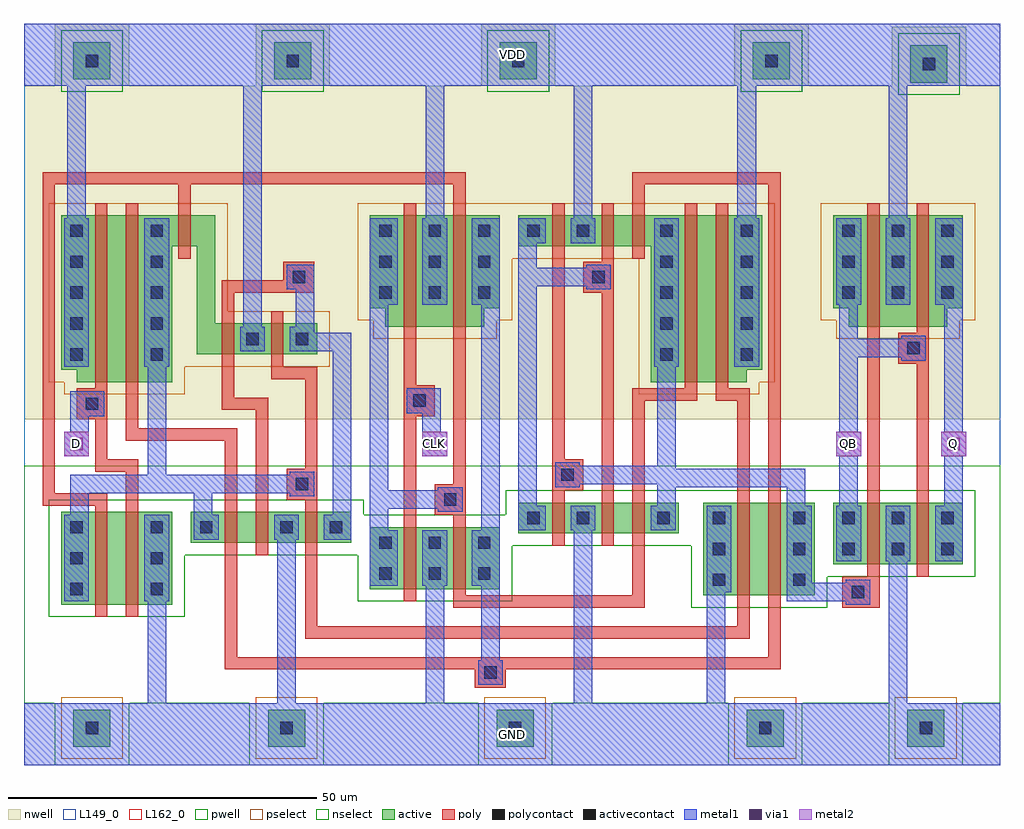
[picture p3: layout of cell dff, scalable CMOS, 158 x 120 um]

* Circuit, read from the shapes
.subckt dff CLK D GND Q QB VDD
M1 n1 n2 n3 GND nfet w=15u l=2u
M2 GND D n1 GND nfet w=15u l=2u
M3 n4 n5 n3 GND nfet w=5u l=2u
M4 GND n6 n4 GND nfet w=5u l=2u
M5 n6 n3 GND GND nfet w=5u l=2u
M6 GND CLK n2 GND nfet w=10u l=2u
M7 n5 n2 GND GND nfet w=10u l=2u
M8 GND n7 n8 GND nfet w=5u l=2u
M9 n9 n8 GND GND nfet w=5u l=2u
M10 n7 n2 n9 GND nfet w=5u l=2u
M11 n10 n3 GND GND nfet w=15u l=2u
M12 n7 n5 n10 GND nfet w=15u l=2u
M13 GND n7 QB GND nfet w=10u l=2u
M14 Q QB GND GND nfet w=10u l=2u
M15 n11 D VDD VDD pfet w=27u l=2u
M16 n3 n5 n11 VDD pfet w=27u l=2u
M17 n12 n2 n3 VDD pfet w=5u l=2u
M18 VDD n6 n12 VDD pfet w=5u l=2u
M19 n6 n3 VDD VDD pfet w=5u l=2u
M20 VDD CLK n2 VDD pfet w=18u l=2u
M21 n5 n2 VDD VDD pfet w=18u l=2u
M22 VDD n7 n8 VDD pfet w=5u l=2u
M23 n13 n8 VDD VDD pfet w=5u l=2u
M24 n7 n5 n13 VDD pfet w=5u l=2u
M25 n14 n2 n7 VDD pfet w=27u l=2u
M26 VDD n3 n14 VDD pfet w=27u l=2u
M27 VDD n7 QB VDD pfet w=18u l=2u
M28 Q QB VDD VDD pfet w=18u l=2u
.ends

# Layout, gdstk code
import gdstk
lib = gdstk.Library(unit=1e-6, precision=1e-09)
def R(c, l, rs):  # rectangles x0, y0, x1, y1
    for r in rs: c.add(gdstk.rectangle(r[:2], r[2:], *l))
def A(c, l, x, y, w, h, nx, ny, dx, dy):  # array of equal rectangles
    R(c, l, [(x+i*dx, y+j*dy, x+i*dx+w, y+j*dy+h) for i in range(nx) for j in range(ny)])
def P(c, l, *ps):  # polygons
    for p in ps: c.add(gdstk.Polygon(p, *l))
pwell = (41, 0)
nwell = (42, 0)
active = (43, 0)
pselect = (44, 0)
nselect = (45, 0)
poly = (46, 0)
polycontact = (47, 0)
activecontact = (48, 0)
metal1 = (49, 0)
via1 = (50, 0)
metal2 = (51, 0)
L149_0 = (149, 0)
L162_0 = (162, 0)

nwell_contact = lib.new_cell('nwell_contact')
R(nwell_contact, nwell, [(-6,-5,6,6)])
R(nwell_contact, active, [(-3,-3,3,3)])
R(nwell_contact, nselect, [(-5,-5,5,5)])
R(nwell_contact, activecontact, [(-1,-1,1,1)])

pwell_contact = lib.new_cell('pwell_contact')
R(pwell_contact, pwell, [(-6,-6,6,5)])
R(pwell_contact, active, [(-3,-3,3,3)])
R(pwell_contact, pselect, [(-5,-5,5,5)])
R(pwell_contact, activecontact, [(-1,-1,1,1)])

via = lib.new_cell('via')
R(via, metal1, [(-2,-2,2,2)])
R(via, via1, [(-1,-1,1,1)])
R(via, metal2, [(-2,-2,2,2)])

dff = lib.new_cell('dff')
R(dff, pwell, [(0,10,158,20), (0,10,158,48.5), (0,20,30,47), (104,21.5,134,48.5), (50,22.5,83,44.5), (125,26.5,158,48.5), (21,30,59,47), (74,31.5,112,48.5)])
R(dff, nwell, [(0,56,158,110), (50,65,53.5,73), (37,73,50,95), (0,95,158,110)])
P(dff, nwell, [(158,68),(155.5,68),(155.5,65),(127.5,65),(127.5,68),(125,68),(125,95),(158,95)],
  [(125.5,58),(123,58),(123,56),(95.5,56),(95.5,78),(74,78),(74,95),(125.5,95)],
  [(83,68),(80.5,68),(80.5,65),(52.5,65),(52.5,68),(50,68),(50,95),(83,95)],
  [(53.5,60.5),(30,60.5),(30,56),(2.5,56),(2.5,58),(0,58),(0,95),(37,95),(37,77.5),(53.5,77.5)])
R(dff, active, [(6,26,24,41), (110,27.5,128,42.5), (56,28.5,77,38.5), (131,32.5,152,42.5), (27,36,53,41), (80,37.5,106,42.5)])
P(dff, active, [(152,74),(149.5,74),(149.5,71),(133.5,71),(133.5,74),(131,74),(131,89),(152,89)],
  [(119.5,64),(117,64),(117,62),(101.5,62),(101.5,84),(80,84),(80,89),(119.5,89)],
  [(77,74),(74.5,74),(74.5,71),(58.5,71),(58.5,74),(56,74),(56,89),(77,89)],
  [(47.5,66.5),(28,66.5),(28,84),(24,84),(24,62),(8.5,62),(8.5,64),(6,64),(6,89),(31,89),(31,71.5),(47.5,71.5)])
P(dff, pselect, [(154,72),(151.5,72),(151.5,69),(131.5,69),(131.5,72),(129,72),(129,91),(154,91)],
  [(121.5,62),(119,62),(119,60),(99.5,60),(99.5,82),(78,82),(78,91),(121.5,91)],
  [(79,72),(76.5,72),(76.5,69),(56.5,69),(56.5,72),(54,72),(54,91),(79,91)],
  [(49.5,64.5),(26,64.5),(26,60),(6.5,60),(6.5,62),(4,62),(4,91),(33,91),(33,73.5),(49.5,73.5)])
R(dff, nselect, [(4,24,26,43), (108,25.5,130,44.5), (54,26.5,79,40.5), (129,30.5,154,44.5), (25,34,55,43), (78,35.5,108,44.5)])
R(dff, poly, [(73,12.5,78,17.5), (11.5,24,13.5,26), (16.5,24,18.5,26), (115.5,25.5,117.5,27.5), (120.5,25.5,122.5,27.5), (132.5,25.5,137.5,30.5), (11.5,26,13.5,41), (16.5,26,18.5,41), (61.5,26.5,63.5,28.5), (69.5,26.5,71.5,28.5), (115.5,27.5,117.5,42.5), (120.5,27.5,122.5,42.5), (61.5,28.5,63.5,38.5), (69.5,28.5,71.5,38.5), (136.5,30.5,138.5,32.5), (144.5,30.5,146.5,32.5), (136.5,32.5,138.5,42.5), (144.5,32.5,146.5,42.5), (32.5,34,34.5,36), (37.5,34,39.5,36), (45.5,34,47.5,36), (85.5,35.5,87.5,37.5), (93.5,35.5,95.5,37.5), (98.5,35.5,100.5,37.5), (32.5,36,34.5,41), (37.5,36,39.5,41), (45.5,36,47.5,41), (85.5,37.5,87.5,42.5), (93.5,37.5,95.5,42.5), (98.5,37.5,100.5,42.5), (61.5,38.5,63.5,40.5), (69.5,38.5,71.5,40.5), (66.5,40.5,71.5,45.5), (11.5,41,13.5,43), (16.5,41,18.5,43), (32.5,41,34.5,43), (37.5,41,39.5,43), (45.5,41,47.5,43), (85.5,42.5,87.5,44.5), (93.5,42.5,95.5,44.5), (98.5,42.5,100.5,44.5), (115.5,42.5,117.5,44.5), (120.5,42.5,122.5,44.5), (136.5,42.5,138.5,44.5), (144.5,42.5,146.5,44.5), (42.5,43,47.5,48), (85.5,44.5,90.5,49.5), (8.5,56,13.5,61), (61.5,56.5,66.5,61.5), (11.5,60,13.5,62), (16.5,60,18.5,62), (107,60,109,62), (112,60,114,62), (11.5,62,13.5,89), (16.5,62,18.5,89), (107,62,109,89), (112,62,114,89), (32,64.5,34,66.5), (40,64.5,42,66.5), (141.5,65,146.5,70), (32,66.5,34,71.5), (40,66.5,42,71.5), (61.5,69,63.5,71), (69.5,69,71.5,71), (136.5,69,138.5,71), (144.5,69,146.5,71), (61.5,71,63.5,89), (69.5,71,71.5,89), (136.5,71,138.5,89), (144.5,71,146.5,89), (32,71.5,34,73.5), (40,71.5,42,73.5), (42,76.5,47,81.5), (90.5,76.5,95.5,81.5), (25,82,27,84), (85.5,82,87.5,84), (93.5,82,95.5,84), (98.5,82,100.5,84), (25,84,27,89), (85.5,84,87.5,89), (93.5,84,95.5,89), (98.5,84,100.5,89), (11.5,89,13.5,91), (16.5,89,18.5,91), (25,89,27,91), (61.5,89,63.5,91), (69.5,89,71.5,91), (85.5,89,87.5,91), (93.5,89,95.5,91), (98.5,89,100.5,91), (107,89,109,91), (112,89,114,91), (136.5,89,138.5,91), (144.5,89,146.5,91)])
R(dff, polycontact, [(74.5,14,76.5,16), (134,27,136,29), (68,42,70,44), (44,44.5,46,46.5), (87,46,89,48), (10,57.5,12,59.5), (63,58,65,60), (143,66.5,145,68.5), (43.5,78,45.5,80), (92,78,94,80)])
A(dff, activecontact, 7.5, 27.5, 2, 2, 1, 3, 0, 5)
A(dff, activecontact, 20.5, 27.5, 2, 2, 1, 3, 0, 5)
A(dff, activecontact, 111.5, 29, 2, 2, 1, 3, 0, 5)
A(dff, activecontact, 57.5, 30, 2, 2, 3, 2, 8, 5)
A(dff, activecontact, 124.5, 34, 2, 2, 4, 2, 8, 5)
A(dff, activecontact, 7.5, 65.5, 2, 2, 1, 5, 0, 5)
A(dff, activecontact, 20.5, 65.5, 2, 2, 1, 5, 0, 5)
A(dff, activecontact, 103, 65.5, 2, 2, 1, 5, 0, 5)
A(dff, activecontact, 116, 65.5, 2, 2, 1, 5, 0, 5)
A(dff, activecontact, 57.5, 75.5, 2, 2, 3, 2, 8, 5)
A(dff, activecontact, 132.5, 75.5, 2, 2, 3, 3, 8, 5)
A(dff, activecontact, 57.5, 85.5, 2, 2, 5, 1, 8, 0)
R(dff, activecontact, [(124.5,29,126.5,31), (28.5,37.5,30.5,39.5), (41.5,37.5,43.5,39.5), (49.5,37.5,51.5,39.5), (81.5,39,83.5,41), (89.5,39,91.5,41), (102.5,39,104.5,41), (36,68,38,70), (44,68,46,70)])
A(dff, metal1, 56.5, 29, 4, 9, 3, 1, 8, 0)
A(dff, metal1, 131.5, 33, 4, 9, 3, 1, 8, 0)
A(dff, metal1, 56.5, 74.5, 4, 14, 3, 1, 8, 0)
A(dff, metal1, 131.5, 74.5, 4, 14, 3, 1, 8, 0)
R(dff, metal1, [(0,0,158,10), (0,0,158,10), (73.5,13,77.5,17), (133,26,137,30), (6.5,26.5,10.5,40.5), (19.5,26.5,23.5,40.5), (110.5,28,114.5,42), (123.5,28,127.5,42), (27.5,36.5,31.5,40.5), (40.5,36.5,44.5,40.5), (48.5,36.5,52.5,40.5), (80.5,38,84.5,42), (88.5,38,92.5,42), (101.5,38,105.5,42), (67,41,71,45), (43,43.5,47,47.5), (86,45,90,49), (9,56.5,13,60.5), (62,57,66,61), (6.5,64.5,10.5,88.5), (19.5,64.5,23.5,88.5), (102,64.5,106,88.5), (115,64.5,119,88.5), (142,65.5,146,69.5), (35,67,39,71), (43,67,47,71), (42.5,77,46.5,81), (91,77,95,81), (80.5,84.5,84.5,88.5), (88.5,84.5,92.5,88.5), (0,110,158,120), (0,110,158,120)])
R(dff, metal2, [(6.5,50,10.5,54), (64.5,50,68.5,54), (131.5,50,135.5,54), (148.5,50,152.5,54)])
R(dff, L149_0, [(0,0,158,10), (0,0,158,120), (73.5,13,77.5,17), (133,26,137,30), (67,41,71,45), (43,43.5,47,47.5), (86,45,90,49), (9,56.5,13,60.5), (62,57,66,61), (142,65.5,146,69.5), (42.5,77,46.5,81), (91,77,95,81), (0,110,158,120)])
R(dff, L162_0, [(6.5,50,10.5,54), (64.5,50,68.5,54), (131.5,50,135.5,54), (148.5,50,152.5,54)])
dff.add(gdstk.FlexPath([(8.5,88.5),(8.5,110)], 3, ends="flush", simple_path=True, layer=149, datatype=0))  # L149_0
dff.add(gdstk.FlexPath([(43,45.5),(30.5,45.5)], 3, ends="flush", simple_path=True, layer=149, datatype=0))  # L149_0
dff.add(gdstk.FlexPath([(21.5,26.5),(21.5,10)], 3, ends="flush", simple_path=True, layer=149, datatype=0))  # L149_0
dff.add(gdstk.FlexPath([(42.5,36.5),(42.5,10)], 3, ends="flush", simple_path=True, layer=149, datatype=0))  # L149_0
dff.add(gdstk.FlexPath([(9,40.5),(9,45.5),(29,45.5),(29,40.5)], 3, ends="flush", simple_path=True, layer=149, datatype=0))  # L149_0
dff.add(gdstk.FlexPath([(45.5,71),(45.5,81)], 3, ends="flush", simple_path=True, layer=149, datatype=0))  # L149_0
dff.add(gdstk.FlexPath([(51.5,36.5),(51.5,68.5),(47,68.5)], 3, ends="flush", simple_path=True, layer=149, datatype=0))  # L149_0
dff.add(gdstk.FlexPath([(67,43),(59,43)], 3, ends="flush", simple_path=True, layer=149, datatype=0))  # L149_0
dff.add(gdstk.FlexPath([(21.5,47),(21.5,64.5)], 3, ends="flush", simple_path=True, layer=149, datatype=0))  # L149_0
dff.add(gdstk.FlexPath([(57.5,88.5),(57.5,29)], 3, ends="flush", simple_path=True, layer=149, datatype=0))  # L149_0
dff.add(gdstk.FlexPath([(112,28),(112,10)], 3, ends="flush", simple_path=True, layer=149, datatype=0))  # L149_0
dff.add(gdstk.FlexPath([(66.5,29),(66.5,10)], 3, ends="flush", simple_path=True, layer=149, datatype=0))  # L149_0
dff.add(gdstk.FlexPath([(66.5,88.5),(66.5,110)], 3, ends="flush", simple_path=True, layer=149, datatype=0))  # L149_0
dff.add(gdstk.FlexPath([(81.5,88.5),(81.5,38)], 3, ends="flush", simple_path=True, layer=149, datatype=0))  # L149_0
dff.add(gdstk.FlexPath([(90.5,88.5),(90.5,110)], 3, ends="flush", simple_path=True, layer=149, datatype=0))  # L149_0
dff.add(gdstk.FlexPath([(117,88.5),(117,110)], 3, ends="flush", simple_path=True, layer=149, datatype=0))  # L149_0
dff.add(gdstk.FlexPath([(90.5,38),(90.5,10)], 3, ends="flush", simple_path=True, layer=149, datatype=0))  # L149_0
dff.add(gdstk.FlexPath([(75.5,88.5),(75.5,17)], 3, ends="flush", simple_path=True, layer=149, datatype=0))  # L149_0
dff.add(gdstk.FlexPath([(104,42),(104,46.5),(125,46.5),(125,42)], 3, ends="flush", simple_path=True, layer=149, datatype=0))  # L149_0
dff.add(gdstk.FlexPath([(9,54),(9,60.5)], 3, ends="flush", simple_path=True, layer=149, datatype=0))  # L149_0
dff.add(gdstk.FlexPath([(66,54),(66,61)], 3, ends="flush", simple_path=True, layer=149, datatype=0))  # L149_0
dff.add(gdstk.FlexPath([(133.5,42),(133.5,74.5)], 3, ends="flush", simple_path=True, layer=149, datatype=0))  # L149_0
dff.add(gdstk.FlexPath([(141.5,88.5),(141.5,110)], 3, ends="flush", simple_path=True, layer=149, datatype=0))  # L149_0
dff.add(gdstk.FlexPath([(141.5,33),(141.5,10)], 3, ends="flush", simple_path=True, layer=149, datatype=0))  # L149_0
dff.add(gdstk.FlexPath([(150.5,88.5),(150.5,33)], 3, ends="flush", simple_path=True, layer=149, datatype=0))  # L149_0
dff.add(gdstk.FlexPath([(142,67.5),(135,67.5)], 3, ends="flush", simple_path=True, layer=149, datatype=0))  # L149_0
dff.add(gdstk.FlexPath([(104,48),(104,64.5)], 3, ends="flush", simple_path=True, layer=149, datatype=0))  # L149_0
dff.add(gdstk.FlexPath([(90,47),(102.5,47)], 3, ends="flush", simple_path=True, layer=149, datatype=0))  # L149_0
dff.add(gdstk.FlexPath([(91,79),(83,79)], 3, ends="flush", simple_path=True, layer=149, datatype=0))  # L149_0
dff.add(gdstk.FlexPath([(133,28),(123.5,28)], 3, ends="flush", simple_path=True, layer=149, datatype=0))  # L149_0
dff.add(gdstk.FlexPath([(37,71),(37,110)], 3, ends="flush", simple_path=True, layer=149, datatype=0))  # L149_0
dff.add(gdstk.FlexPath([(33,64.5),(33,58.5),(38.5,58.5),(38.5,43)], 2, ends="flush", simple_path=True, layer=46, datatype=0))  # poly
dff.add(gdstk.FlexPath([(26,91),(26,95),(4,95),(4,43),(13.5,43)], 2, ends="flush", simple_path=True, layer=46, datatype=0))  # poly
dff.add(gdstk.FlexPath([(12.5,60),(12.5,48.5),(17.5,48.5),(17.5,43)], 2, ends="flush", simple_path=True, layer=46, datatype=0))  # poly
dff.add(gdstk.FlexPath([(17.5,60),(17.5,53.5),(33.5,53.5),(33.5,43)], 2, ends="flush", simple_path=True, layer=46, datatype=0))  # poly
dff.add(gdstk.FlexPath([(40,63.5),(46.5,63.5),(46.5,43)], 2, ends="flush", simple_path=True, layer=46, datatype=0))  # poly
dff.add(gdstk.FlexPath([(62.5,69),(62.5,38)], 2, ends="flush", simple_path=True, layer=46, datatype=0))  # poly
dff.add(gdstk.FlexPath([(70.5,69),(70.5,38)], 2, ends="flush", simple_path=True, layer=46, datatype=0))  # poly
dff.add(gdstk.FlexPath([(69.5,26.5),(99.5,26.5),(99.5,35.5)], 2, ends="flush", simple_path=True, layer=46, datatype=0))  # poly
dff.add(gdstk.FlexPath([(86.5,82),(86.5,44.5)], 2, ends="flush", simple_path=True, layer=46, datatype=0))  # poly
dff.add(gdstk.FlexPath([(94.5,82),(94.5,44.5)], 2, ends="flush", simple_path=True, layer=46, datatype=0))  # poly
dff.add(gdstk.FlexPath([(109,60),(99.5,60),(99.5,44.5)], 2, ends="flush", simple_path=True, layer=46, datatype=0))  # poly
dff.add(gdstk.FlexPath([(121.5,44.5),(121.5,95),(99.5,95),(99.5,91)], 2, ends="flush", simple_path=True, layer=46, datatype=0))  # poly
dff.add(gdstk.FlexPath([(112,60),(116.5,60),(116.5,44.5)], 2, ends="flush", simple_path=True, layer=46, datatype=0))  # poly
dff.add(gdstk.FlexPath([(121.5,25.5),(121.5,16.5),(33.5,16.5),(33.5,34)], 2, ends="flush", simple_path=True, layer=46, datatype=0))  # poly
dff.add(gdstk.FlexPath([(116.5,25.5),(116.5,21.5),(46.5,21.5),(46.5,34)], 2, ends="flush", simple_path=True, layer=46, datatype=0))  # poly
dff.add(gdstk.FlexPath([(27,95),(70.5,95),(70.5,91)], 2, ends="flush", simple_path=True, layer=46, datatype=0))  # poly
dff.add(gdstk.FlexPath([(137.5,69),(137.5,44.5)], 2, ends="flush", simple_path=True, layer=46, datatype=0))  # poly
dff.add(gdstk.FlexPath([(145.5,69),(145.5,44.5)], 2, ends="flush", simple_path=True, layer=46, datatype=0))  # poly
dff.add(gdstk.FlexPath([(137.5,30.5),(137.5,25.5)], 2, ends="flush", simple_path=True, layer=46, datatype=0))  # poly
dff.add(gdstk.FlexPath([(33,73.5),(33,77.5),(42,77.5)], 2, ends="flush", simple_path=True, layer=46, datatype=0))  # poly
dff.add(gdstk.FlexPath([(8.5,88.5),(8.5,110)], 3, ends="flush", simple_path=True, layer=49, datatype=0))  # metal1
dff.add(gdstk.FlexPath([(43,45.5),(30.5,45.5)], 3, ends="flush", simple_path=True, layer=49, datatype=0))  # metal1
dff.add(gdstk.FlexPath([(21.5,26.5),(21.5,10)], 3, ends="flush", simple_path=True, layer=49, datatype=0))  # metal1
dff.add(gdstk.FlexPath([(42.5,36.5),(42.5,10)], 3, ends="flush", simple_path=True, layer=49, datatype=0))  # metal1
dff.add(gdstk.FlexPath([(9,40.5),(9,45.5),(29,45.5),(29,40.5)], 3, ends="flush", simple_path=True, layer=49, datatype=0))  # metal1
dff.add(gdstk.FlexPath([(45.5,71),(45.5,81)], 3, ends="flush", simple_path=True, layer=49, datatype=0))  # metal1
dff.add(gdstk.FlexPath([(51.5,36.5),(51.5,68.5),(47,68.5)], 3, ends="flush", simple_path=True, layer=49, datatype=0))  # metal1
dff.add(gdstk.FlexPath([(67,43),(59,43)], 3, ends="flush", simple_path=True, layer=49, datatype=0))  # metal1
dff.add(gdstk.FlexPath([(21.5,47),(21.5,64.5)], 3, ends="flush", simple_path=True, layer=49, datatype=0))  # metal1
dff.add(gdstk.FlexPath([(57.5,88.5),(57.5,29)], 3, ends="flush", simple_path=True, layer=49, datatype=0))  # metal1
dff.add(gdstk.FlexPath([(112,28),(112,10)], 3, ends="flush", simple_path=True, layer=49, datatype=0))  # metal1
dff.add(gdstk.FlexPath([(66.5,29),(66.5,10)], 3, ends="flush", simple_path=True, layer=49, datatype=0))  # metal1
dff.add(gdstk.FlexPath([(66.5,88.5),(66.5,110)], 3, ends="flush", simple_path=True, layer=49, datatype=0))  # metal1
dff.add(gdstk.FlexPath([(81.5,88.5),(81.5,38)], 3, ends="flush", simple_path=True, layer=49, datatype=0))  # metal1
dff.add(gdstk.FlexPath([(90.5,88.5),(90.5,110)], 3, ends="flush", simple_path=True, layer=49, datatype=0))  # metal1
dff.add(gdstk.FlexPath([(117,88.5),(117,110)], 3, ends="flush", simple_path=True, layer=49, datatype=0))  # metal1
dff.add(gdstk.FlexPath([(90.5,38),(90.5,10)], 3, ends="flush", simple_path=True, layer=49, datatype=0))  # metal1
dff.add(gdstk.FlexPath([(75.5,88.5),(75.5,17)], 3, ends="flush", simple_path=True, layer=49, datatype=0))  # metal1
dff.add(gdstk.FlexPath([(104,42),(104,46.5),(125,46.5),(125,42)], 3, ends="flush", simple_path=True, layer=49, datatype=0))  # metal1
dff.add(gdstk.FlexPath([(9,54),(9,60.5)], 3, ends="flush", simple_path=True, layer=49, datatype=0))  # metal1
dff.add(gdstk.FlexPath([(66,54),(66,61)], 3, ends="flush", simple_path=True, layer=49, datatype=0))  # metal1
dff.add(gdstk.FlexPath([(133.5,42),(133.5,74.5)], 3, ends="flush", simple_path=True, layer=49, datatype=0))  # metal1
dff.add(gdstk.FlexPath([(141.5,88.5),(141.5,110)], 3, ends="flush", simple_path=True, layer=49, datatype=0))  # metal1
dff.add(gdstk.FlexPath([(141.5,33),(141.5,10)], 3, ends="flush", simple_path=True, layer=49, datatype=0))  # metal1
dff.add(gdstk.FlexPath([(150.5,88.5),(150.5,33)], 3, ends="flush", simple_path=True, layer=49, datatype=0))  # metal1
dff.add(gdstk.FlexPath([(142,67.5),(135,67.5)], 3, ends="flush", simple_path=True, layer=49, datatype=0))  # metal1
dff.add(gdstk.FlexPath([(104,48),(104,64.5)], 3, ends="flush", simple_path=True, layer=49, datatype=0))  # metal1
dff.add(gdstk.FlexPath([(90,47),(102.5,47)], 3, ends="flush", simple_path=True, layer=49, datatype=0))  # metal1
dff.add(gdstk.FlexPath([(91,79),(83,79)], 3, ends="flush", simple_path=True, layer=49, datatype=0))  # metal1
dff.add(gdstk.FlexPath([(133,28),(123.5,28)], 3, ends="flush", simple_path=True, layer=49, datatype=0))  # metal1
dff.add(gdstk.FlexPath([(37,71),(37,110)], 3, ends="flush", simple_path=True, layer=49, datatype=0))  # metal1
dff.add(gdstk.Reference(nwell_contact, (11,114)))
dff.add(gdstk.Reference(nwell_contact, (146.5,113.5)))
dff.add(gdstk.Reference(nwell_contact, (80,114)))
dff.add(gdstk.Reference(nwell_contact, (43.5,114)))
dff.add(gdstk.Reference(nwell_contact, (121,114)))
dff.add(gdstk.Reference(pwell_contact, (11,6)))
dff.add(gdstk.Reference(pwell_contact, (146,6)))
dff.add(gdstk.Reference(pwell_contact, (79.5,6)))
dff.add(gdstk.Reference(pwell_contact, (42.5,6)))
dff.add(gdstk.Reference(pwell_contact, (120,6)))
dff.add(gdstk.Reference(via, (133.5,52)))
dff.add(gdstk.Reference(via, (8.5,52)))
dff.add(gdstk.Reference(via, (66.5,52)))
dff.add(gdstk.Reference(via, (150.5,52)))
dff.add(gdstk.Label('QB', (133.5,52), layer=3, texttype=0))
dff.add(gdstk.Label('D', (8.5,52), layer=3, texttype=0))
dff.add(gdstk.Label('CLK', (66.5,52), layer=3, texttype=0))
dff.add(gdstk.Label('Q', (150.5,52), layer=3, texttype=0))
dff.add(gdstk.Label('VDD', (79,115), layer=2, texttype=0))
dff.add(gdstk.Label('GND', (79,5), layer=2, texttype=0))

lib.write_gds('dff.gds')
